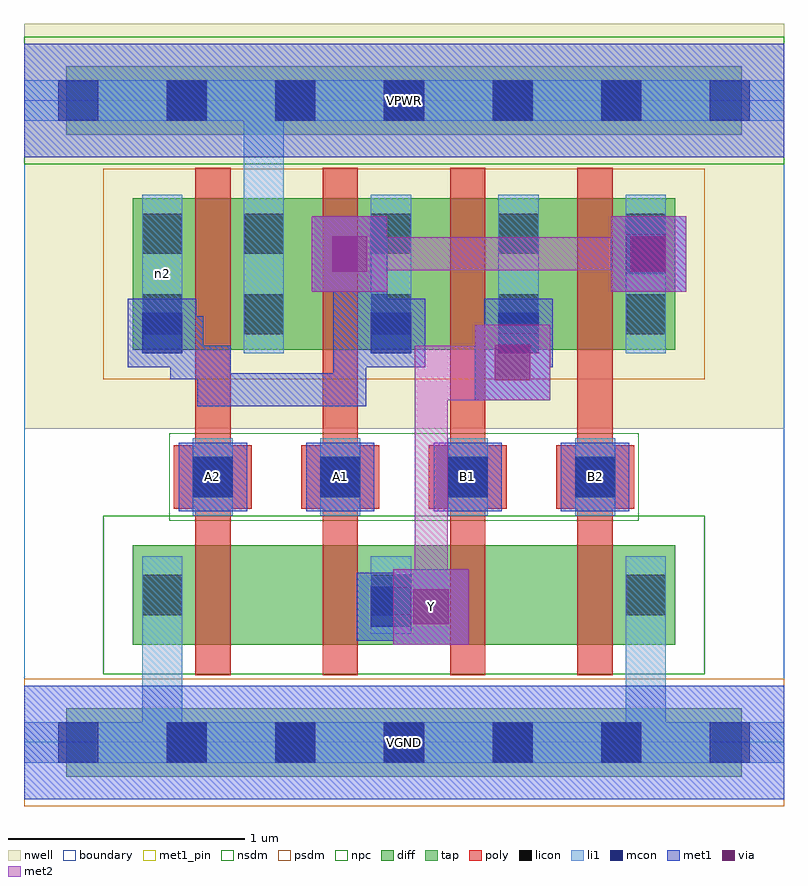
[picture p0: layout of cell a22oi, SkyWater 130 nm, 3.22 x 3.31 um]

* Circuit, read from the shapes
.subckt a22oi A1 A2 B1 B2 VGND VPWR Y n2
XM1 n1 A2 VGND VGND sky130_fd_pr__nfet_01v8 w=0.42 l=0.15
XM2 Y A1 n1 VGND sky130_fd_pr__nfet_01v8 w=0.42 l=0.15
XM3 n3 B1 Y VGND sky130_fd_pr__nfet_01v8 w=0.42 l=0.15
XM4 VGND B2 n3 VGND sky130_fd_pr__nfet_01v8 w=0.42 l=0.15
XM5 VPWR A2 n2 VPWR sky130_fd_pr__pfet_01v8 w=0.64 l=0.15
XM6 n2 A1 VPWR VPWR sky130_fd_pr__pfet_01v8 w=0.64 l=0.15
XM7 Y B1 n2 VPWR sky130_fd_pr__pfet_01v8 w=0.64 l=0.15
XM8 n2 B2 Y VPWR sky130_fd_pr__pfet_01v8 w=0.64 l=0.15
.ends

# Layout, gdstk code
import gdstk
lib = gdstk.Library(unit=1e-6, precision=1e-09)
def R(c, l, rs):  # rectangles x0, y0, x1, y1
    for r in rs: c.add(gdstk.rectangle(r[:2], r[2:], *l))
def A(c, l, x, y, w, h, nx, ny, dx, dy):  # array of equal rectangles
    R(c, l, [(x+i*dx, y+j*dy, x+i*dx+w, y+j*dy+h) for i in range(nx) for j in range(ny)])
nwell = (64, 20)
diff = (65, 20)
tap = (65, 44)
poly = (66, 20)
licon = (66, 44)
li1 = (67, 20)
mcon = (67, 44)
met1_pin = (68, 16)
met1 = (68, 20)
via = (68, 44)
met2 = (69, 20)
nsdm = (93, 44)
psdm = (94, 20)
npc = (95, 20)
boundary = (235, 4)

a22oi = lib.new_cell('a22oi')
R(a22oi, nwell, [(0,1.33,3.22,3.045)])
R(a22oi, diff, [(0.46,0.415,2.76,0.835), (0.46,1.665,2.76,2.305)])
R(a22oi, tap, [(0.18,-0.145,3.04,0.145), (0.18,2.575,3.04,2.865)])
A(a22oi, poly, 0.725, 0.285, 0.15, 2.15, 4, 1, 0.54, 0)
A(a22oi, poly, 0.635, 0.99, 0.33, 0.27, 4, 1, 0.54, 0)
A(a22oi, licon, 0.605, -0.085, 0.17, 0.17, 5, 2, 0.46, 2.72)
A(a22oi, licon, 0.715, 1.04, 0.17, 0.17, 4, 1, 0.54, 0)
A(a22oi, licon, 0.93, 1.73, 0.17, 0.17, 4, 2, 0.54, 0.34)
R(a22oi, licon, [(0.5,0.54,0.67,0.71), (1.47,0.54,1.64,0.71), (2.55,0.54,2.72,0.71), (0.5,1.73,0.67,1.9), (0.5,2.07,0.67,2.24)])
A(a22oi, li1, 0.715, 0.96, 0.17, 0.33, 4, 1, 0.54, 0)
A(a22oi, li1, 0.93, 1.65, 0.17, 0.67, 4, 1, 0.54, 0)
R(a22oi, li1, [(0,-0.085,3.22,0.085), (0.5,-0.085,0.67,0.79), (2.55,-0.085,2.72,0.79), (0.5,0.46,0.67,0.79), (1.47,0.46,1.64,0.79), (2.55,0.46,2.72,0.79), (0.5,1.65,0.67,2.32), (0.93,1.65,1.1,2.805), (0,2.635,3.22,2.805)])
A(a22oi, mcon, 0.145, -0.085, 0.17, 0.17, 7, 2, 0.46, 2.72)
A(a22oi, mcon, 0.715, 1.04, 0.17, 0.17, 4, 1, 0.54, 0)
R(a22oi, mcon, [(1.47,0.49,1.64,0.66), (0.5,1.65,0.67,1.82), (1.47,1.65,1.64,1.82), (2.01,1.65,2.18,1.82), (2.55,1.985,2.72,2.155)])
A(a22oi, met1_pin, 0.655, 0.98, 0.29, 0.29, 4, 1, 0.54, 0)
R(a22oi, met1_pin, [(0,-0.24,3.22,0.24), (1.565,0.415,1.885,0.735), (0,2.48,3.22,2.96)])
A(a22oi, met1, 0.655, 0.98, 0.29, 0.29, 4, 1, 0.54, 0)
A(a22oi, met1, 0.62, 1.54, 0.14, 0.265, 3, 1, 0.69, 0)
R(a22oi, met1, [(0,-0.24,3.22,0.24), (1.565,0.415,1.885,0.735), (1.41,0.43,1.7,0.72), (1.485,0.505,1.795,0.645), (0.735,1.425,0.875,1.68), (0.735,1.425,1.45,1.565), (1.31,1.425,1.45,1.68), (1.91,1.45,2.23,1.77), (0.62,1.54,0.875,1.68), (1.31,1.54,1.45,2.14), (0.44,1.59,0.73,1.88), (1.41,1.59,1.7,1.88), (1.95,1.59,2.24,1.88), (0.515,1.665,0.76,1.805), (1.31,1.665,1.625,1.805), (2,1.665,2.165,1.805), (1.31,1.805,1.54,1.91), (1.22,1.91,1.54,2.23), (2.485,1.91,2.805,2.23), (2.49,1.925,2.78,2.215), (2.565,2,2.715,2.14), (0,2.48,3.22,2.96)])
R(a22oi, via, [(1.65,0.5,1.8,0.65), (1.995,1.535,2.145,1.685), (1.305,1.995,1.455,2.145), (2.57,1.995,2.72,2.145)])
R(a22oi, met2, [(1.565,0.415,1.885,0.735), (1.655,0.505,1.795,1.68), (1.795,1.45,1.91,1.68), (1.91,1.45,2.23,1.77), (1.655,1.54,2.14,1.68), (1.22,1.91,1.54,2.23), (2.485,1.91,2.805,2.23), (1.31,2,2.715,2.14)])
R(a22oi, nsdm, [(0.335,0.29,2.885,0.96), (0,2.45,3.22,2.99)])
R(a22oi, psdm, [(0,-0.27,3.22,0.27), (0.335,1.54,2.885,2.43)])
R(a22oi, npc, [(0.615,0.94,2.605,1.31)])
R(a22oi, boundary, [(0,0,3.22,2.72)])
a22oi.add(gdstk.Label('n2', (0.585,1.985), layer=67, texttype=5))
a22oi.add(gdstk.Label('A1', (1.34,1.125), layer=68, texttype=5))
a22oi.add(gdstk.Label('A2', (0.8,1.125), layer=68, texttype=5))
a22oi.add(gdstk.Label('B1', (1.88,1.125), layer=68, texttype=5))
a22oi.add(gdstk.Label('B2', (2.42,1.125), layer=68, texttype=5))
a22oi.add(gdstk.Label('Y', (1.725,0.575), layer=68, texttype=5))
a22oi.add(gdstk.Label('VPWR', (1.61,2.72), layer=68, texttype=5))
a22oi.add(gdstk.Label('VGND', (1.61,0), layer=68, texttype=5))
a22oi.add(gdstk.Label('A1', (1.34,1.125), layer=68, texttype=16))
a22oi.add(gdstk.Label('A2', (0.8,1.125), layer=68, texttype=16))
a22oi.add(gdstk.Label('B1', (1.88,1.125), layer=68, texttype=16))
a22oi.add(gdstk.Label('B2', (2.42,1.125), layer=68, texttype=16))
a22oi.add(gdstk.Label('Y', (1.725,0.575), layer=68, texttype=16))
a22oi.add(gdstk.Label('VPWR', (1.61,2.72), layer=68, texttype=16))
a22oi.add(gdstk.Label('VGND', (1.61,0), layer=68, texttype=16))

lib.write_gds('a22oi.gds')
